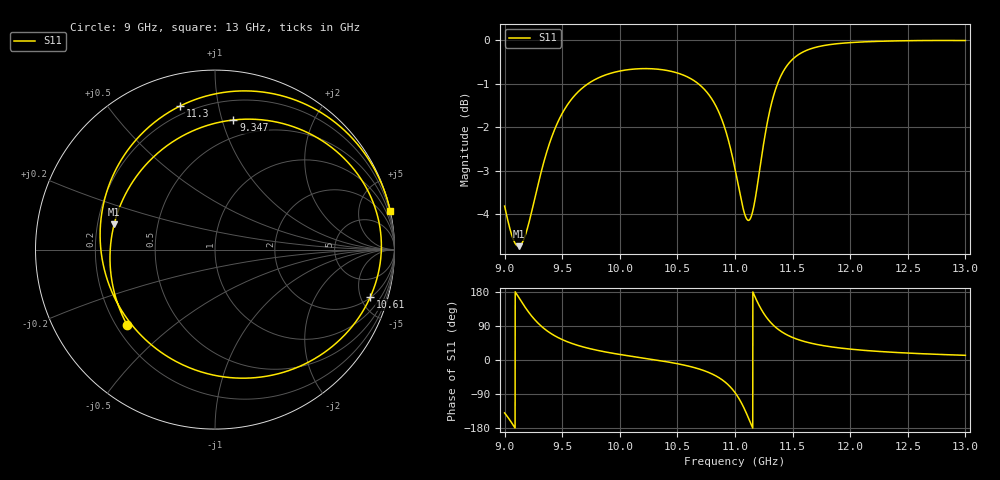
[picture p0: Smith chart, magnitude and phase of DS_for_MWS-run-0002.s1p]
! TOUCHSTONE file generated by CST DESIGN STUDIO
! Date and time: Tue Feb  4 17:41:33 2025
! Project name: C:\Work\MatlabApps\UnitCellOptimizationMatlab\CST\unitcell.cst
! Tree item: Tasks\Sweep1\SPara1\S-Parameters
! Header version: 2024
! Port assignment regex: !\s*Touchstone port\s*([0-9]+)\s*=\s*(CST MWS port|CST DES external port|CST DES block port)\s*(.+)\s* \(\"(.*)\"\)(\s*mode\s*([0-9]+))?.*
! Touchstone port assignment:
! Touchstone port 1 = CST DES external port 1 ("")
# GHz S MA R 50
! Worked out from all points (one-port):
!   4001 points, 9 GHz to 13 GHz, reference 50 ohm
!   lowest |S11| = -4.7 dB at 9.121 GHz (marker M1), VSWR 3.76, Z = 13.5 + j5.71 ohm
!   |S11| at or under -10 dB: nowhere
!   S11 on the Smith chart (normalised r, x): 9 GHz: 0.24, -0.35; 9.347 GHz: 0.35, +1.09; 10.61 GHz: 2.06, -6.01; 11.3 GHz: 0.16, +0.77; 13 GHz: 0.02, +9.23
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9  0.6444 -139.6
9.066  0.5945 -167.8
9.121  0.5794 166.0
9.181  0.5971 138.0
9.234  0.6343 116.3
9.347  0.7294 81.9
9.5  0.8239 53.9
9.709  0.8884 32.3
10  0.9218 14.6
10.5  0.9171 -9.8
10.608  0.9046 -17.0
10.739  0.8767 -29.0
10.84  0.8373 -43.0
10.923  0.7837 -60.5
11  0.7111 -86.0
11.039  0.6696 -104.1
11.075  0.6369 -124.8
11.118  0.6204 -153.9
11.154  0.6356 -179.7
11.19  0.6751 155.9
11.23  0.733 132.6
11.296  0.8231 103.7
11.376  0.896 80.6
11.5  0.951 59.4
11.697  0.9814 41.9
12  0.994 28.7
12.5  0.999 18.3
13  0.9994 12.4
